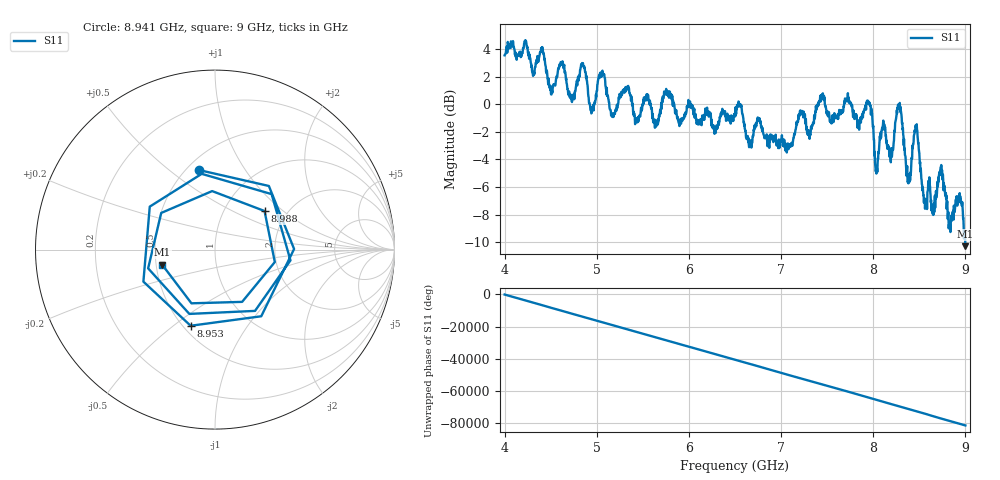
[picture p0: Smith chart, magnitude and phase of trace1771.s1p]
! Created with skrf 1.8.0 (http://scikit-rf.org).
# Hz S RI R 50.0
!freq ReS11 ImS11
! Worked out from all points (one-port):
!   1601 points, 4 GHz to 9 GHz, reference 50 ohm
!   lowest |S11| = -10.3 dB at 9 GHz (marker M1), VSWR 1.88, Z = 27 - j5.02 ohm
!   |S11| at or under -10 dB: 8.998489 GHz to end of sweep
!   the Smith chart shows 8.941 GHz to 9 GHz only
!   S11 on the Smith chart (normalised r, x): 8.941 GHz: 0.57, +0.64; 8.953 GHz: 0.55, -0.58; 8.988 GHz: 1.54, +0.75; 9 GHz: 0.54, -0.10
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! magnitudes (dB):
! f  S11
! 4 GHz  3.6
! 4.403 GHz  4.1
! 4.509 GHz  0.7
! 4.625 GHz  2.9
! 4.731 GHz  0.2
! 4.844 GHz  2.9
! 4.941 GHz  -0.7
! 5.047 GHz  2.2
! 5.162 GHz  -0.8
! 5.25 GHz  0.7
! 5.875 GHz  -0.9
! 6.5 GHz  -0.6
! 7.125 GHz  -2.9
! 7.75 GHz  0.1
! 7.959 GHz  0.1
! 8.038 GHz  -4.6
! 8.106 GHz  -1.4
! 8.2 GHz  -3.8
! 8.281 GHz  -0.2
! 8.375 GHz  -5.7
! 8.466 GHz  -1.7
! 8.559 GHz  -6.9
! 8.731 GHz  -4.6
! 8.831 GHz  -8.6
! 8.941 GHz  -6.9
! 8.953 GHz  -7.0
! 8.988 GHz  -9.1
! 9 GHz  -10.3
